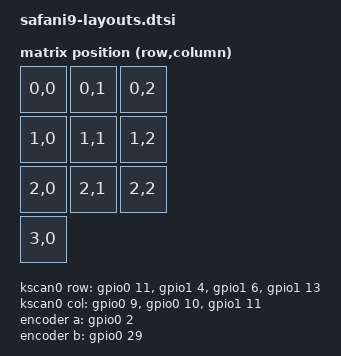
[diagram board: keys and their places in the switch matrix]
#include <dt-bindings/zmk/matrix_transform.h>

/ {
    chosen {
        zmk,kscan = &kscan0;
        zmk,matrix-transform = &default_transform;
        zmk,physical-layout = &physical_layout0;
        zephyr,display = &oled;
    };

    /*
     * Physical key order:
     * K1 K2 K3
     * K4 K5 K6
     * K7 K8 K9
     * SW
     */
    default_transform: keymap_transform {
        compatible = "zmk,matrix-transform";
        rows = <4>;
        columns = <3>;

        map = <
            RC(0,0) RC(0,1) RC(0,2)
            RC(1,0) RC(1,1) RC(1,2)
            RC(2,0) RC(2,1) RC(2,2)
            RC(3,0)
        >;
    };

    physical_layout0: physical_layout {
        compatible = "zmk,physical-layout";
        display-name = "SAFANI 3x3";
        kscan = <&kscan0>;
        transform = <&default_transform>;
    };

    /*
     * ROW2COL:
     * Rows are driven outputs.
     * Columns are inputs with pull-down.
     */
    kscan0: kscan {
        compatible = "zmk,kscan-gpio-matrix";
        label = "SAFANI_KSCAN";
        diode-direction = "row2col";
        wakeup-source;

        row-gpios =
            <&gpio0 11 GPIO_ACTIVE_HIGH>, /* P0.11 Row 0 */
            <&gpio1 4  GPIO_ACTIVE_HIGH>, /* P1.04 Row 1 */
            <&gpio1 6  GPIO_ACTIVE_HIGH>, /* P1.06 Row 2 */
            <&gpio1 13 GPIO_ACTIVE_HIGH>; /* P1.13 Row 3 / encoder SW */

        col-gpios =
            <&gpio0 9  (GPIO_ACTIVE_HIGH | GPIO_PULL_DOWN)>, /* P0.09 */
            <&gpio0 10 (GPIO_ACTIVE_HIGH | GPIO_PULL_DOWN)>, /* P0.10 */
            <&gpio1 11 (GPIO_ACTIVE_HIGH | GPIO_PULL_DOWN)>; /* P1.11 */

        debounce-press-ms = <5>;
        debounce-release-ms = <5>;
    };

    /* EC11 rotation sensor */
    encoder: encoder {
        compatible = "alps,ec11";
        a-gpios = <&gpio0 2 (GPIO_ACTIVE_HIGH | GPIO_PULL_UP)>; /* P0.02 */
        b-gpios = <&gpio0 29  (GPIO_ACTIVE_HIGH | GPIO_PULL_UP)>; /* P0.29 */
        steps = <80>;
        status = "okay";
    };

    sensors: sensors {
        compatible = "zmk,keymap-sensors";
        sensors = <&encoder>;
        triggers-per-rotation = <20>;
    };
};

/*
 * P0.09 and P0.10 are NFC-capable pins on nRF52840.
 * This UICR setting enables them as normal GPIOs.
 */
&uicr {
    nfct-pins-as-gpios;
};

/* Nice!Nano V2 I2C0: SDA=P0.17, SCL=P0.20 */
&pro_micro_i2c {
    status = "okay";

    oled: ssd1306@3c {
        compatible = "solomon,ssd1306fb";
        reg = <0x3c>;
        width = <128>;
        height = <32>;

        segment-offset = <0>;
        page-offset = <0>;
        display-offset = <0>;
        multiplex-ratio = <31>;

        segment-remap;
        com-invdir;
        com-sequential;
        prechargep = <0x22>;

        status = "okay";
    };
};
